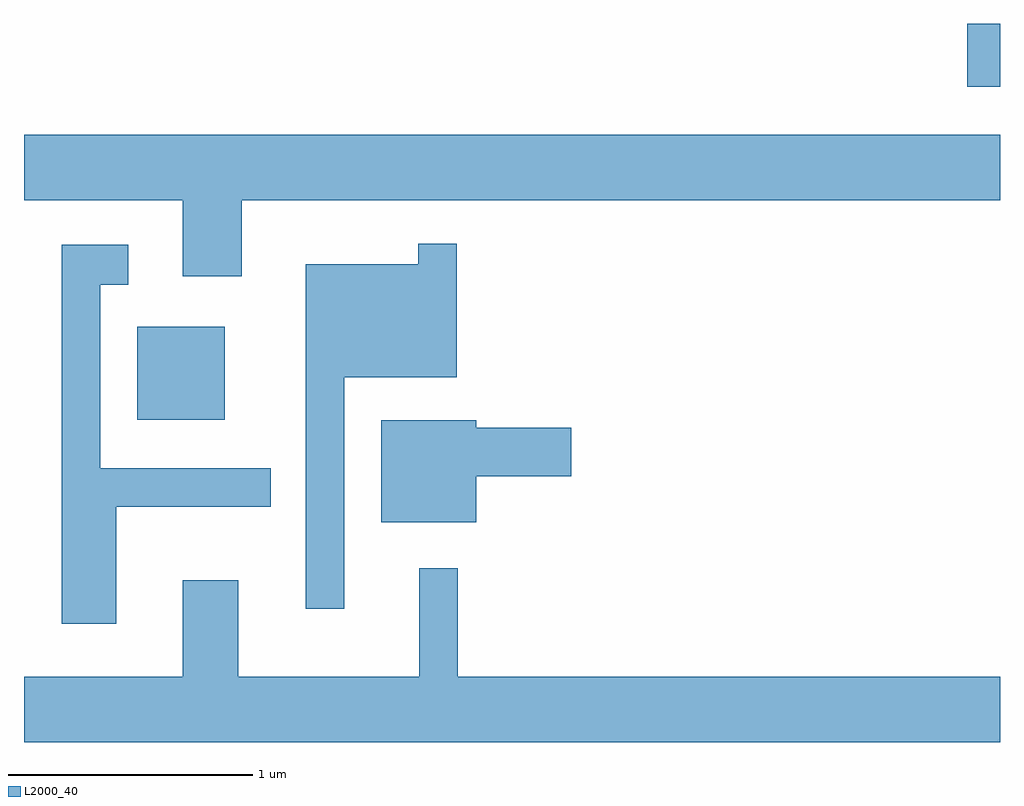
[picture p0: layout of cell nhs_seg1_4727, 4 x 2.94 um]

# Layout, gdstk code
import gdstk
lib = gdstk.Library(unit=1e-6, precision=1e-09)
def R(c, l, rs):  # rectangles x0, y0, x1, y1
    for r in rs: c.add(gdstk.rectangle(r[:2], r[2:], *l))
def P(c, l, *ps):  # polygons
    for p in ps: c.add(gdstk.Polygon(p, *l))
L2000_40 = (2000, 40)

nhs_seg1_4727 = lib.new_cell('nhs_seg1_4727')
R(nhs_seg1_4727, L2000_40, [(328.076,869.816,328.434,870.199), (331.476,871.181,331.611,871.439)])
P(nhs_seg1_4727, L2000_40, [(328.504,870.716),(331.611,870.716),(331.611,870.984),(327.611,870.984),(327.611,870.716),(328.261,870.716),(328.261,870.406),(328.504,870.406)],
  [(328.924,869.991),(329.384,869.991),(329.384,870.538),(329.226,870.538),(329.226,870.454),(328.766,870.454),(328.766,869.043),(328.924,869.043)],
  [(327.989,869.461),(328.623,869.461),(328.623,869.619),(327.924,869.619),(327.924,870.371),(328.038,870.371),(328.038,870.534),(327.766,870.534),(327.766,868.981),(327.989,868.981)],
  [(329.464,869.586),(329.854,869.586),(329.854,869.784),(329.464,869.784),(329.464,869.814),(329.076,869.814),(329.076,869.396),(329.464,869.396)],
  [(331.611,868.764),(329.389,868.764),(329.389,869.208),(329.231,869.208),(329.231,868.764),(328.489,868.764),(328.489,869.159),(328.261,869.159),(328.261,868.764),(327.611,868.764),(327.611,868.496),(331.611,868.496)])

lib.write_gds('nhs_seg1_4727.gds')
